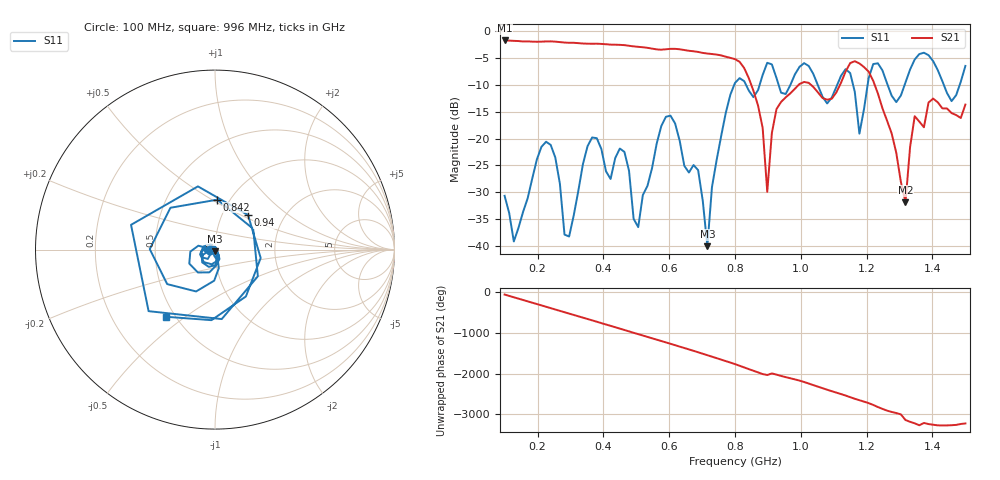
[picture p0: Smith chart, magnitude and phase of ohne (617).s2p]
! NanoVNA-App
! Date: 2025-09-25 14:25:36
! Start: 100MHz Stop: 1,5GHz Points: 101
! S-Parameter data: F S11 S21 S12 S22
# Hz S RI R 50
!  Frequency  S11_Real  S11_Imag  S21_Real  S21_Imag  S12_Real  S12_Imag  S22_Real  S22_Imag
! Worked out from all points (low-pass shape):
!   101 points, 100 MHz to 1.5 GHz, reference 50 ohm
!   highest |S21| = -1.79 dB at 100 MHz (marker M1); lowest = -31.8 dB at 1.318 GHz (marker M2)
!   |S21| within 3 dB of the highest: start of sweep to 771.1 MHz
!   lowest |S11| = -40.0 dB at 716 MHz (marker M3), VSWR 1.02, Z = 49.7 - j0.968 ohm
!   |S11| at or under -10 dB: start of sweep to 797.9 MHz; 833.1 MHz to 875.1 MHz (41.91 MHz wide, 4.91 % of centre); 1.051 GHz to 1.111 GHz (59.72 MHz wide, 5.52 % of centre)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
!   S12 and S22 are empty: the file has one direction only
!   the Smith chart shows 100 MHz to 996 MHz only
!   S11 on the Smith chart (normalised r, x): 100 MHz: 0.94, -0.01; 842 MHz: 0.88, +0.53; 940 MHz: 1.32, +0.55; 996 MHz: 0.45, -0.43
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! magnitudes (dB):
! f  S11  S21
! 100 MHz  -30.6  -1.8
! 128 MHz  -39.1  -1.9
! 226 MHz  -20.6  -2.0
! 296 MHz  -38.2  -2.2
! 338 MHz  -24.7  -2.4
! 464 MHz  -22.5  -2.7
! 506 MHz  -36.4  -3.0
! 576 MHz  -17.7  -3.5
! 688 MHz  -25.9  -3.9
! 716 MHz  -40.0  -4.2
! 800 MHz  -9.7  -5.3
! 842 MHz  -11.1  -8.8
! 898 MHz  -5.9  -29.9
! 940 MHz  -11.5  -13.2
! 996 MHz  -6.7  -9.9
! 1.038 GHz  -8.0  -10.4
! 1.178 GHz  -19.1  -6.1
! 1.22 GHz  -6.2  -9.3
! 1.276 GHz  -12.1  -19.1
! 1.318 GHz  -9.6  -31.8
! 1.346 GHz  -5.3  -15.9
! 1.5 GHz  -6.5  -13.7
